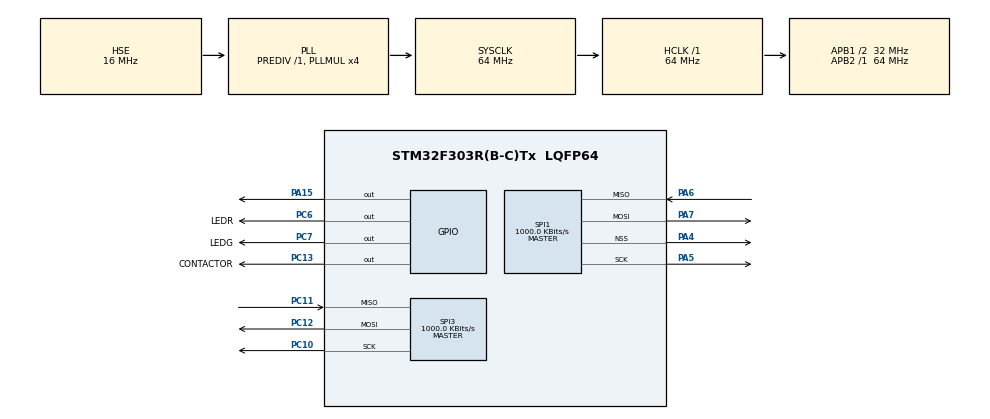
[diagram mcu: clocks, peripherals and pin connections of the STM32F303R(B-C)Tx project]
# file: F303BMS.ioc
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Dma.Request0=SPI3_RX
Dma.Request1=SPI3_TX
Dma.SPI3_RX.0.Direction=DMA_PERIPH_TO_MEMORY
Dma.SPI3_RX.0.Instance=DMA2_Channel1
Dma.SPI3_RX.0.MemDataAlignment=DMA_MDATAALIGN_BYTE
Dma.SPI3_RX.0.MemInc=DMA_MINC_ENABLE
Dma.SPI3_RX.0.Mode=DMA_NORMAL
Dma.SPI3_RX.0.PeriphDataAlignment=DMA_PDATAALIGN_BYTE
Dma.SPI3_RX.0.PeriphInc=DMA_PINC_DISABLE
Dma.SPI3_RX.0.Priority=DMA_PRIORITY_HIGH
Dma.SPI3_TX.1.Direction=DMA_MEMORY_TO_PERIPH
Dma.SPI3_TX.1.Instance=DMA2_Channel2
Dma.SPI3_TX.1.MemDataAlignment=DMA_MDATAALIGN_BYTE
Dma.SPI3_TX.1.MemInc=DMA_MINC_ENABLE
Dma.SPI3_TX.1.Mode=DMA_NORMAL
Dma.SPI3_TX.1.PeriphDataAlignment=DMA_PDATAALIGN_BYTE
Dma.SPI3_TX.1.PeriphInc=DMA_PINC_DISABLE
Dma.SPI3_TX.1.Priority=DMA_PRIORITY_HIGH
Mcu.Family=STM32F3
Mcu.Name=STM32F303R(B-C)Tx
Mcu.Package=LQFP64
NVIC.DMA2_Channel1_IRQn=true\:0\:0\:false\:false\:true\:false\:true
NVIC.DMA2_Channel2_IRQn=true\:0\:0\:false\:false\:true\:false\:true
NVIC.PriorityGroup=NVIC_PRIORITYGROUP_4
NVIC.TIM3_IRQn=true\:0\:0\:false\:false\:true\:true\:true
PA13.Mode=Serial_Wire
PA13.Signal=SYS_JTMS-SWDIO
PA14.Mode=Serial_Wire
PA14.Signal=SYS_JTCK-SWCLK
PA15.Signal=GPIO_Output
PA4.Mode=NSS_Signal_Hard_Output
PA4.Signal=SPI1_NSS
PA5.Mode=Full_Duplex_Master
PA5.Signal=SPI1_SCK
PA6.Mode=Full_Duplex_Master
PA6.Signal=SPI1_MISO
PA7.Mode=Full_Duplex_Master
PA7.Signal=SPI1_MOSI
PC10.Mode=Full_Duplex_Master
PC10.Signal=SPI3_SCK
PC11.Mode=Full_Duplex_Master
PC11.Signal=SPI3_MISO
PC12.Mode=Full_Duplex_Master
PC12.Signal=SPI3_MOSI
PC13.GPIO_Label=CONTACTOR
PC13.Signal=GPIO_Output
PC6.GPIO_Label=LEDR
PC6.Signal=GPIO_Output
PC7.GPIO_Label=LEDG
PC7.Signal=GPIO_Output
PF0-OSC_IN.Mode=HSE-External-Oscillator
PF0-OSC_IN.Signal=RCC_OSC_IN
PF1-OSC_OUT.Mode=HSE-External-Oscillator
PF1-OSC_OUT.Signal=RCC_OSC_OUT
ProjectManager.HeapSize=0x200
ProjectManager.StackSize=0x400
ProjectManager.TargetToolchain=STM32CubeIDE
RCC.AHBFreq_Value=64000000
RCC.APB1CLKDivider=RCC_HCLK_DIV2
RCC.APB1Freq_Value=32000000
RCC.APB1TimFreq_Value=64000000
RCC.APB2Freq_Value=64000000
RCC.APB2TimFreq_Value=64000000
RCC.CortexFreq_Value=64000000
RCC.HCLKFreq_Value=64000000
RCC.HSE_VALUE=16000000
RCC.HSI_VALUE=8000000
RCC.LSE_VALUE=32768
RCC.PLLMUL=RCC_PLL_MUL4
RCC.PLLSourceVirtual=RCC_PLLSOURCE_HSE
RCC.SYSCLKFreq_VALUE=64000000
RCC.SYSCLKSourceVirtual=RCC_SYSCLKSOURCE_PLLCLK
RCC.USBFreq_Value=64000000
SPI1.BaudRatePrescaler=SPI_BAUDRATEPRESCALER_64
SPI1.CalculateBaudRate=1000.0 KBits/s
SPI1.DataSize=SPI_DATASIZE_8BIT
SPI1.Direction=SPI_DIRECTION_2LINES
SPI1.Mode=SPI_MODE_MASTER
SPI1.VirtualNSS=VM_NSSHARD
SPI1.VirtualType=VM_MASTER
SPI3.BaudRatePrescaler=SPI_BAUDRATEPRESCALER_32
SPI3.CalculateBaudRate=1000.0 KBits/s
SPI3.DataSize=SPI_DATASIZE_8BIT
SPI3.Direction=SPI_DIRECTION_2LINES
SPI3.Mode=SPI_MODE_MASTER
SPI3.VirtualType=VM_MASTER
TIM2.AutoReloadPreload=TIM_AUTORELOAD_PRELOAD_ENABLE
TIM2.Channel-Output\ Compare1\ No\ Output=TIM_CHANNEL_1
TIM2.Period=999999
TIM2.Prescaler=63
TIM2.TIM_MasterOutputTrigger=TIM_TRGO_UPDATE
TIM3.AutoReloadPreload=TIM_AUTORELOAD_PRELOAD_ENABLE
TIM3.Channel-Output\ Compare1\ No\ Output=TIM_CHANNEL_1
TIM3.CounterMode=TIM_COUNTERMODE_UP
TIM3.OC1Preload=ENABLE
TIM3.OCMode_1=TIM_OCMODE_ACTIVE
TIM3.Period=999
TIM3.Prescaler=63999
TIM3.Pulse-Output\ Compare1\ No\ Output=999
TIM3.TIM_MasterOutputTrigger=TIM_TRGO_UPDATE
TIM3.TIM_MasterSlaveMode=TIM_MASTERSLAVEMODE_DISABLE
VP_TIM2_VS_ClockSourceINT.Mode=Internal
VP_TIM2_VS_no_output1.Mode=Output Compare1 No Output
VP_TIM3_VS_ClockSourceINT.Mode=Internal
VP_TIM3_VS_no_output1.Mode=Output Compare1 No Output
board=custom

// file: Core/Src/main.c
/* USER CODE BEGIN Header */
/**
  ******************************************************************************
  * @file           : main.c
  * @brief          : Main program body
  ******************************************************************************
  * @attention
  *
  * <h2><center>&copy; Copyright (c) 2022 STMicroelectronics.
  * All rights reserved.</center></h2>
  *
  * This software component is licensed by ST under BSD 3-Clause license,
  * the "License"; You may not use this file except in compliance with the
  * License. You may obtain a copy of the License at:
  *                        opensource.org/licenses/BSD-3-Clause
  *
  ******************************************************************************
  */
/* USER CODE END Header */
#include "main.h"

SPI_HandleTypeDef hspi1;
SPI_HandleTypeDef hspi3;
DMA_HandleTypeDef hdma_spi3_rx;
DMA_HandleTypeDef hdma_spi3_tx;

TIM_HandleTypeDef htim2;
TIM_HandleTypeDef htim3;

/* USER CODE BEGIN PV */
cell_asic cellASIC[TOTAL_IC];
float32_t voltages[TOTAL_IC][TOTAL_VOLTAGES];
float32_t temperatures[TOTAL_IC][TOTAL_TEMPERATURES];
float32_t temperatureCoefficients[6]={155.29, -232.43, 208.18, -96.574, 21.118, -1.75};
uint32_t temperaturePolynomialDeg = 5;
float32_t voltageCoefficients[3]={4.447, -0.2653, 0.003953};
uint32_t voltagePolynomialDeg=2;
float32_t SOC;

//LTC CONFIGURATION VARIABLES
bool REFON = true; //!< Reference Powered Up Bit (true means Vref remains powered on between conversions)
bool ADCOPT = true; //!< ADC Mode option bit	(true chooses the second set of ADC frequencies)
bool gpioBits_a[5] = {true,true,true,true,true}; //!< GPIO Pin Control // Gpio 1,2,3,4,5 (false -> pull-down on)
bool dccBits_a[TOTAL_IC][TOTAL_VOLTAGES];//!< Discharge cell switch //Dcc 1,2,3,4,5,6,7,8,9,10,11,12 (all false -> no discharge enabled)
bool dctoBits[4] = {false, false, false, false}; //!< Discharge time value // Dcto 0,1,2,3	(all false -> discharge timer disabled)
uint16_t cellOV = (uint16_t) (CELL_OV*625.0f); // ovCount = U[microvolts]/(16*100)
uint16_t cellUV = (uint16_t) (CELL_UV*625.0f);

//ERROR VARIABLES
int8_t cvError = 0;
int8_t auxError = 0;	//hold if an error has occured while reading cell voltage and aux voltage values
int NV [TOTAL_IC][TOTAL_VOLTAGES];	//total number of voltage measurement errors per IC per cell
int NT [TOTAL_IC][TOTAL_TEMPERATURES];	//total number of temperature measurement errors per IC per cell
int NPEC_V = 0;	//number of communication errors in cell voltage measurement
int NPEC_T = 0;	//number of communication errors in temperature voltage measurement

//BAL Variables
HAL_BALState_e balancingState = HAL_BALSTDBY;
uint32_t balancingCounter;
float32_t batteryPackCurrent;

//GLOBAL STATE VARIABLE
HAL_GlobalState_e globalState = HAL_GLOBALSTDBY;

/* USER CODE END PV */

void SystemClock_Config(void);
static void MX_GPIO_Init(void);
static void MX_DMA_Init(void);
static void MX_SPI3_Init(void);
static void MX_SPI1_Init(void);
static void MX_TIM3_Init(void);
static void MX_TIM2_Init(void);

int main(void)
{
  /* USER CODE BEGIN 1 */
	// local iterators for loops
	uint32_t i = 0;
	uint32_t j = 0;
	uint32_t k = 0;

  /* USER CODE END 1 */

  /* MCU Configuration--------------------------------------------------------*/

  /* Reset of all peripherals, Initializes the Flash interface and the Systick. */
  HAL_Init();

  /* Configure the system clock */
  SystemClock_Config();

  /* Initialize all configured peripherals */
  MX_GPIO_Init();
  MX_DMA_Init();
  MX_SPI3_Init();
  MX_SPI1_Init();
  MX_TIM3_Init();
  MX_TIM2_Init();
  /* USER CODE BEGIN 2 */
  //Set DCCBits to false (balancing off)
  for(uint16_t currentIC=0; currentIC<TOTAL_IC; currentIC++)
  {
	  for(uint16_t currentCell=0; currentCell<TOTAL_VOLTAGES; currentCell++)
	  {
		  dccBits_a[currentIC][currentCell] = false;
	  }

  }

  //TODO:error counter init
  cs_high();
  //Clear array for initialization
  LTC6811_init_cfg(TOTAL_IC, cellASIC);
  //This for loop initializes the configuration register variables
  for (uint16_t current_ic = 0; current_ic<TOTAL_IC;current_ic++)
  {
	  LTC6811_set_cfgr(current_ic,cellASIC,REFON,ADCOPT,gpioBits_a,dccBits_a, dctoBits, cellUV, cellOV);
  }
  //sets the CRC count to 0
  LTC6811_reset_crc_count(TOTAL_IC, cellASIC);
  //Initializes the LTC's register limits for LTC6811 (because the generic LTC681x libraries can also be used for LTC6813 and others)
  LTC6811_init_reg_limits(TOTAL_IC, cellASIC);
  wakeup_sleep(TOTAL_IC);
  //writes the configuration variables in the configuration registers via SPI
  LTC6811_wrcfg(TOTAL_IC,cellASIC);

  HAL_TIM_Base_Start_IT(&htim3);
  /* USER CODE END 2 */

  /* Infinite loop */
  while (1)
  {

  }
}

void SystemClock_Config(void)
{
  RCC_OscInitTypeDef RCC_OscInitStruct = {0};
  RCC_ClkInitTypeDef RCC_ClkInitStruct = {0};

  /** Initializes the RCC Oscillators according to the specified parameters
  * in the RCC_OscInitTypeDef structure.
  */
  RCC_OscInitStruct.OscillatorType = RCC_OSCILLATORTYPE_HSE;
  RCC_OscInitStruct.HSEState = RCC_HSE_ON;
  RCC_OscInitStruct.HSEPredivValue = RCC_HSE_PREDIV_DIV1;
  RCC_OscInitStruct.HSIState = RCC_HSI_ON;
  RCC_OscInitStruct.PLL.PLLState = RCC_PLL_ON;
  RCC_OscInitStruct.PLL.PLLSource = RCC_PLLSOURCE_HSE;
  RCC_OscInitStruct.PLL.PLLMUL = RCC_PLL_MUL4;
  if (HAL_RCC_OscConfig(&RCC_OscInitStruct) != HAL_OK)
  {
    Error_Handler();
  }
  /** Initializes the CPU, AHB and APB buses clocks
  */
  RCC_ClkInitStruct.ClockType = RCC_CLOCKTYPE_HCLK|RCC_CLOCKTYPE_SYSCLK
                              |RCC_CLOCKTYPE_PCLK1|RCC_CLOCKTYPE_PCLK2;
  RCC_ClkInitStruct.SYSCLKSource = RCC_SYSCLKSOURCE_PLLCLK;
  RCC_ClkInitStruct.AHBCLKDivider = RCC_SYSCLK_DIV1;
  RCC_ClkInitStruct.APB1CLKDivider = RCC_HCLK_DIV2;
  RCC_ClkInitStruct.APB2CLKDivider = RCC_HCLK_DIV1;

  if (HAL_RCC_ClockConfig(&RCC_ClkInitStruct, FLASH_LATENCY_2) != HAL_OK)
  {
    Error_Handler();
  }
}

static void MX_SPI1_Init(void)
{

  /* SPI1 parameter configuration*/
  hspi1.Instance = SPI1;
  hspi1.Init.Mode = SPI_MODE_MASTER;
  hspi1.Init.Direction = SPI_DIRECTION_2LINES;
  hspi1.Init.DataSize = SPI_DATASIZE_8BIT;
  hspi1.Init.CLKPolarity = SPI_POLARITY_LOW;
  hspi1.Init.CLKPhase = SPI_PHASE_1EDGE;
  hspi1.Init.NSS = SPI_NSS_HARD_OUTPUT;
  hspi1.Init.BaudRatePrescaler = SPI_BAUDRATEPRESCALER_64;
  hspi1.Init.FirstBit = SPI_FIRSTBIT_MSB;
  hspi1.Init.TIMode = SPI_TIMODE_DISABLE;
  hspi1.Init.CRCCalculation = SPI_CRCCALCULATION_DISABLE;
  hspi1.Init.CRCPolynomial = 7;
  hspi1.Init.CRCLength = SPI_CRC_LENGTH_DATASIZE;
  hspi1.Init.NSSPMode = SPI_NSS_PULSE_ENABLE;
  if (HAL_SPI_Init(&hspi1) != HAL_OK)
  {
    Error_Handler();
  }

}

static void MX_SPI3_Init(void)
{

  /* SPI3 parameter configuration*/
  hspi3.Instance = SPI3;
  hspi3.Init.Mode = SPI_MODE_MASTER;
  hspi3.Init.Direction = SPI_DIRECTION_2LINES;
  hspi3.Init.DataSize = SPI_DATASIZE_8BIT;
  hspi3.Init.CLKPolarity = SPI_POLARITY_LOW;
  hspi3.Init.CLKPhase = SPI_PHASE_1EDGE;
  hspi3.Init.NSS = SPI_NSS_SOFT;
  hspi3.Init.BaudRatePrescaler = SPI_BAUDRATEPRESCALER_32;
  hspi3.Init.FirstBit = SPI_FIRSTBIT_MSB;
  hspi3.Init.TIMode = SPI_TIMODE_DISABLE;
  hspi3.Init.CRCCalculation = SPI_CRCCALCULATION_DISABLE;
  hspi3.Init.CRCPolynomial = 7;
  hspi3.Init.CRCLength = SPI_CRC_LENGTH_DATASIZE;
  hspi3.Init.NSSPMode = SPI_NSS_PULSE_ENABLE;
  if (HAL_SPI_Init(&hspi3) != HAL_OK)
  {
    Error_Handler();
  }

}

static void MX_TIM2_Init(void)
{

  TIM_ClockConfigTypeDef sClockSourceConfig = {0};
  TIM_MasterConfigTypeDef sMasterConfig = {0};
  TIM_OC_InitTypeDef sConfigOC = {0};

  htim2.Instance = TIM2;
  htim2.Init.Prescaler = 63;
  htim2.Init.CounterMode = TIM_COUNTERMODE_UP;
  htim2.Init.Period = 999999;
  htim2.Init.ClockDivision = TIM_CLOCKDIVISION_DIV1;
  htim2.Init.AutoReloadPreload = TIM_AUTORELOAD_PRELOAD_ENABLE;
  if (HAL_TIM_Base_Init(&htim2) != HAL_OK)
  {
    Error_Handler();
  }
  sClockSourceConfig.ClockSource = TIM_CLOCKSOURCE_INTERNAL;
  if (HAL_TIM_ConfigClockSource(&htim2, &sClockSourceConfig) != HAL_OK)
  {
    Error_Handler();
  }
  if (HAL_TIM_OC_Init(&htim2) != HAL_OK)
  {
    Error_Handler();
  }
  sMasterConfig.MasterOutputTrigger = TIM_TRGO_UPDATE;
  sMasterConfig.MasterSlaveMode = TIM_MASTERSLAVEMODE_DISABLE;
  if (HAL_TIMEx_MasterConfigSynchronization(&htim2, &sMasterConfig) != HAL_OK)
  {
    Error_Handler();
  }
  sConfigOC.OCMode = TIM_OCMODE_TIMING;
  sConfigOC.Pulse = 0;
  sConfigOC.OCPolarity = TIM_OCPOLARITY_HIGH;
  sConfigOC.OCFastMode = TIM_OCFAST_DISABLE;
  if (HAL_TIM_OC_ConfigChannel(&htim2, &sConfigOC, TIM_CHANNEL_1) != HAL_OK)
  {
    Error_Handler();
  }

}

static void MX_TIM3_Init(void)
{

  TIM_ClockConfigTypeDef sClockSourceConfig = {0};
  TIM_MasterConfigTypeDef sMasterConfig = {0};
  TIM_OC_InitTypeDef sConfigOC = {0};

  htim3.Instance = TIM3;
  htim3.Init.Prescaler = 63999;
  htim3.Init.CounterMode = TIM_COUNTERMODE_UP;
  htim3.Init.Period = 999;
  htim3.Init.ClockDivision = TIM_CLOCKDIVISION_DIV1;
  htim3.Init.AutoReloadPreload = TIM_AUTORELOAD_PRELOAD_ENABLE;
  if (HAL_TIM_Base_Init(&htim3) != HAL_OK)
  {
    Error_Handler();
  }
  sClockSourceConfig.ClockSource = TIM_CLOCKSOURCE_INTERNAL;
  if (HAL_TIM_ConfigClockSource(&htim3, &sClockSourceConfig) != HAL_OK)
  {
    Error_Handler();
  }
  if (HAL_TIM_OC_Init(&htim3) != HAL_OK)
  {
    Error_Handler();
  }
  sMasterConfig.MasterOutputTrigger = TIM_TRGO_UPDATE;
  sMasterConfig.MasterSlaveMode = TIM_MASTERSLAVEMODE_DISABLE;
  if (HAL_TIMEx_MasterConfigSynchronization(&htim3, &sMasterConfig) != HAL_OK)
  {
    Error_Handler();
  }
  sConfigOC.OCMode = TIM_OCMODE_ACTIVE;
  sConfigOC.Pulse = 999;
  sConfigOC.OCPolarity = TIM_OCPOLARITY_HIGH;
  sConfigOC.OCFastMode = TIM_OCFAST_DISABLE;
  if (HAL_TIM_OC_ConfigChannel(&htim3, &sConfigOC, TIM_CHANNEL_1) != HAL_OK)
  {
    Error_Handler();
  }
  __HAL_TIM_ENABLE_OCxPRELOAD(&htim3, TIM_CHANNEL_1);

}

static void MX_DMA_Init(void)
{

  /* DMA controller clock enable */
  __HAL_RCC_DMA2_CLK_ENABLE();

  /* DMA interrupt init */
  /* DMA2_Channel1_IRQn interrupt configuration */
  HAL_NVIC_SetPriority(DMA2_Channel1_IRQn, 0, 0);
  HAL_NVIC_EnableIRQ(DMA2_Channel1_IRQn);
  /* DMA2_Channel2_IRQn interrupt configuration */
  HAL_NVIC_SetPriority(DMA2_Channel2_IRQn, 0, 0);
  HAL_NVIC_EnableIRQ(DMA2_Channel2_IRQn);

}

static void MX_GPIO_Init(void)
{
  GPIO_InitTypeDef GPIO_InitStruct = {0};

  /* GPIO Ports Clock Enable */
  __HAL_RCC_GPIOC_CLK_ENABLE();
  __HAL_RCC_GPIOF_CLK_ENABLE();
  __HAL_RCC_GPIOA_CLK_ENABLE();

  /*Configure GPIO pin Output Level */
  HAL_GPIO_WritePin(GPIOC, CONTACTOR_Pin|LEDR_Pin|LEDG_Pin, GPIO_PIN_RESET);

  /*Configure GPIO pin Output Level */
  HAL_GPIO_WritePin(GPIOA, GPIO_PIN_15, GPIO_PIN_RESET);

  /*Configure GPIO pins : CONTACTOR_Pin LEDR_Pin LEDG_Pin */
  GPIO_InitStruct.Pin = CONTACTOR_Pin|LEDR_Pin|LEDG_Pin;
  GPIO_InitStruct.Mode = GPIO_MODE_OUTPUT_PP;
  GPIO_InitStruct.Pull = GPIO_NOPULL;
  GPIO_InitStruct.Speed = GPIO_SPEED_FREQ_LOW;
  HAL_GPIO_Init(GPIOC, &GPIO_InitStruct);

  /*Configure GPIO pin : PA15 */
  GPIO_InitStruct.Pin = GPIO_PIN_15;
  GPIO_InitStruct.Mode = GPIO_MODE_OUTPUT_PP;
  GPIO_InitStruct.Pull = GPIO_NOPULL;
  GPIO_InitStruct.Speed = GPIO_SPEED_FREQ_LOW;
  HAL_GPIO_Init(GPIOA, &GPIO_InitStruct);

}

/* USER CODE BEGIN 4 */

static void HAL_readCellVoltages()
{
	uint32_t i;
	uint32_t j;

	 //wakeup_idle(TOTAL_IC);
	 LTC6811_adcv(MD_27KHZ_14KHZ, DCP_DISABLED, CELL_CH_ALL);

	 delay_us(10000);

	 wakeup_idle(TOTAL_IC);
	 cvError = LTC6811_rdcv(CELL_CH_ALL, TOTAL_IC, cellASIC);
	 for(i=0; i<TOTAL_IC; i++)
	 {
		 for(j=0; j<TOTAL_VOLTAGES; j++)
		 {
			 voltages[i][j] = cellASIC[i].cells.c_codes[j] * 0.0001;
		 }
	 }
	 if(cvError)
	 {
		 //Message readback voltage failure. Reset error counter
		 cvError =0;
		 //TODO: CAN/UART message that received voltage is faulty
	 }
	 //TODO: check if there is overvoltage or undervoltage and enable/disable contactor
	 for(i=0; i<TOTAL_IC; i++)
	 {
		 for(j=0; j<TOTAL_VOLTAGES; j++)
		 {
			 if(voltages[i][j]>=CELL_OV)
			 {
				 //global state change
				 globalState=HAL_GLOBALCELLOV;
			 }
			 if(voltages[i][j]<=CELL_UV && voltages[i][j]>=CELL_NONZEROV)
			 {
				 globalState=HAL_GLOBALCELLUV;
			 }
		 }
	 }
}

static void HAL_readCellTemperatures()
{
	uint32_t i;
	uint32_t j;

	uint8_t temp;

	//Go over each sensor (per sensor conversion is slow so it is in an outer loop)
	for(i=0; i<TOTAL_TEMPERATURES; i++)
	{
		//Fill all the local structures for ASICs (every ASIC is getting the same command)
		//i.e. all ASICS are to read same mux channel
		for(j=0; j<TOTAL_IC; j++)
		{
			//Select the mux channel on ADG728: ch. read seq: 4,5,6,7,0,1,2,3
			temp = 0x01<<i;
			//temp = 0x01;
			//Write to local MCU data structure to prepare data to be sent then send data
			cellASIC[j].com.tx_data[0] = 0b01101001; 			//ICOM0 = START,  ADG728AddrH
			cellASIC[j].com.tx_data[1] = 0b10001000; 			//ADG728AddrL,  FCOM0 = MasterNACK
			cellASIC[j].com.tx_data[2] = (0b00000000 | (temp>>4));	//ICOM1 = BLANK, ADG728SelH
			cellASIC[j].com.tx_data[3] = (0b00001001 | (temp<<4));	//ADG728SelL, FCOM1 = STOP
			cellASIC[j].com.tx_data[4] = 0b01110000; 			//ICOM2 = No Transmit, 0000
			cellASIC[j].com.tx_data[5] = 0b00000000; 			//0000, FCOM2 = BLANK
		 }

		//broadcast WRCOMM command to all asics
		LTC6811_wrcomm(TOTAL_IC, cellASIC);
		delay_us(1000);
		//STCOMM command (start I2C communication), it will send stcomm+pec (4 bytes) + 3 bytes * the number sent
		LTC6811_stcomm(3*TOTAL_IC);
		delay_us(1000);
		LTC6811_rdcomm(TOTAL_IC,cellASIC);
		delay_us(1000);
		//Wait for mux to each ASIC to stabilize, read and parse MUX
		//delay_us(5000);

		//wakeup_idle(TOTAL_IC);
		//MD = 0x02  - 7kHz mode
		//CHG = 0x01 - measure on GPIO1 (MUXTEMP)
		LTC6811_adax(MD_7KHZ_3KHZ, AUX_CH_GPIO1);
		//Read back converted voltages from all asics
		delay_us(1000);
		auxError = LTC6811_rdaux(AUX_CH_GPIO1, TOTAL_IC, cellASIC);

		//Read and parse each temperature for all asics
		for(j=0; j<TOTAL_IC; j++)
		{
			//TODO: interpolation function
			//temperatures[j][i] = cellASIC[j].aux.a_codes[0];
			temperatures[j][i] = fmath_polyval(temperatureCoefficients, (cellASIC[j].aux.a_codes[0]*0.0001), temperaturePolynomialDeg);
			if(auxError)
			{
				//Message readback temperature failure. Reset error counter
				//auxError =0;
				//TODO: CAN/UART message that received temperature is faulty
			}
		}
	 }
}

void HAL_runBalancing()
{
	uint16_t i,j;
	bool balanceNeededFlag=false;
	float_t vmin=voltages[0][0];
	bool dccBitsSend[TOTAL_VOLTAGES];

	//STANDBY STATE
	if(balancingState==HAL_BALSTDBY)
	{
		//Find the minimum voltage HAL_readCellVoltages() has run before
		for(i=0; i<TOTAL_IC; i++)
		{
			for(j=0; j<TOTAL_VOLTAGES; j++)
			{
				if(voltages[i][j]<=vmin && voltages[i][j]>=HAL_BALVOLTAGETHRESHOLD)
				{
					vmin=voltages[i][j];
				}
			}
		}
		//Find which of the cells satisfy threshold and write to array
		for(i=0; i<TOTAL_IC; i++)
		{
			for(j=0; j<TOTAL_VOLTAGES; j++)
			{
				if((voltages[i][j]-vmin)>HAL_BALVOLTAGETHRESHOLD)
				{
					//Do balance only existing/healthy cells
					if(voltages[i][j]>=CELL_UV)
					{
						dccBits_a[i][j]=true;
						balanceNeededFlag=true;
					}
				}
				else
				{
					dccBits_a[i][j]=false;
				}
			}
		}
		if(balanceNeededFlag==true)
		{
			balanceNeededFlag=false;
			balancingState=HAL_BALPREPARE;
		}
	}

	//PREPARE STATE
	if(balancingState==HAL_BALPREPARE)
	{
		if(batteryPackCurrent<HAL_BALCURRENTTHRESHOLD)
		{
			balancingCounter++;
			if(balancingCounter>=HAL_BALMAXSTATECNT)
			{
				balancingCounter=0;
				balancingState=HAL_BALON;
			}
		}
		else
		{
			balancingCounter=0;
			balancingState=HAL_BALSTDBY;
		}

	}

	//BALANCE ON STATE
	if(balancingState==HAL_BALON)
	{
		balancingCounter++;
		if(balancingCounter>=HAL_BALMAXBALDURATION)
		{
			balancingCounter=0;
			balancingState=HAL_BALSTDBY;
			//Turn off balancing
			for(i=0; i<TOTAL_IC; i++)
			{
				for(j=0; j<TOTAL_VOLTAGES; j++)
				{
					dccBits_a[i][j]=false;
					dccBitsSend[j]=false;
				}
				LTC6811_set_cfgr(i,cellASIC,REFON,ADCOPT,gpioBits_a,dccBitsSend, dctoBits, cellUV, cellOV);
				LTC6811_wrcfg(TOTAL_IC, cellASIC);
				delay_us(1000);
			}

		}
		//TODO: add additional conditions (like temperature)
		if(batteryPackCurrent<=HAL_BALCURRENTTHRESHOLD)
		{
			//Turn on balancing
			for(i=0; i<TOTAL_IC; i++)
			{
				for(j=0; j<TOTAL_VOLTAGES; j++)
				{
					dccBitsSend[j]=dccBits_a[i][j];
				}
				LTC6811_set_cfgr(i,cellASIC,REFON,ADCOPT,gpioBits_a,dccBitsSend, dctoBits, cellUV, cellOV);
				LTC6811_wrcfg(TOTAL_IC, cellASIC);
				delay_us(1000);
			}
		}
		else
		{
			balancingState=HAL_BALSTDBY;
		}
	}
}

void HAL_runSOC()
{
	uint16_t i;
	uint16_t j;
	float32_t totalPackVoltage=0.0f;
	for(i=0;i<TOTAL_IC;++i)
	{
		for(j=0;j<TOTAL_VOLTAGES;++j)
		{
			totalPackVoltage+=voltages[i][j];
		}
	}
	SOC=fmath_polyval(voltageCoefficients, totalPackVoltage, voltagePolynomialDeg);
}

void HAL_runContactorControl()
{
	if(globalState==HAL_GLOBALSTDBY || globalState==HAL_GLOBALCONTACTORON)
	{
		//Turn on Contactor
		HAL_GPIO_WritePin(CONTACTOR_GPIO_Port, CONTACTOR_Pin, 1);
		//Turn on LED
		HAL_GPIO_WritePin(LEDG_GPIO_Port, LEDG_Pin, 1);
		//Change global State
		globalState=HAL_GLOBALCONTACTORON;
	}
	else
	{
		//Turn off Contactor
		HAL_GPIO_WritePin(CONTACTOR_GPIO_Port, CONTACTOR_Pin, 0);
		//Turn off LED
		HAL_GPIO_WritePin(LEDG_GPIO_Port, LEDG_Pin, 0);
	}
}

void HAL_TIM_PeriodElapsedCallback(TIM_HandleTypeDef *htim)
{
	if(htim==&htim3)
	{
		  //Toggle LED
		  HAL_GPIO_TogglePin(LEDR_GPIO_Port, LEDR_Pin);

		  //TODO:Get current
		  batteryPackCurrent=-0.51f;

		  //Wakeup
		  wakeup_idle(TOTAL_IC);

		  //Turn on voltage reference
		  LTC6811_wrcfg(TOTAL_IC, cellASIC);

		  //Voltage conversion
		  HAL_readCellVoltages();

		  //Temperature readout
		  HAL_readCellTemperatures();

		  //Run balancing algorithm and set appropriate bits
		  HAL_runBalancing();

		  //Run SOC algorithm
		  HAL_runSOC();

		  //Run Contactor control algorithm
		  HAL_runContactorControl();
	}
}
/* USER CODE END 4 */

void Error_Handler(void)
{
  __disable_irq();
  while (1)
  {
  }
}

/************************ (C) COPYRIGHT STMicroelectronics *****END OF FILE****/
